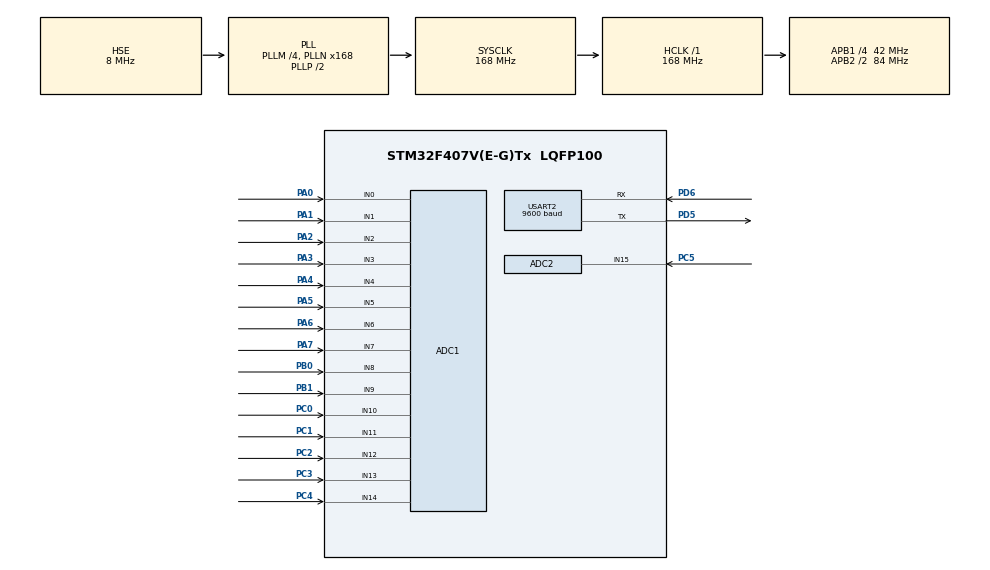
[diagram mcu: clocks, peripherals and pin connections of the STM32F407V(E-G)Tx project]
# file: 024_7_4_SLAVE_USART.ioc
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ADC1.Channel-0\#ChannelRegularConversion=ADC_CHANNEL_VREFINT
ADC1.Channel-1\#ChannelRegularConversion=ADC_CHANNEL_0
ADC1.Channel-10\#ChannelRegularConversion=ADC_CHANNEL_9
ADC1.Channel-11\#ChannelRegularConversion=ADC_CHANNEL_10
ADC1.Channel-12\#ChannelRegularConversion=ADC_CHANNEL_11
ADC1.Channel-13\#ChannelRegularConversion=ADC_CHANNEL_12
ADC1.Channel-14\#ChannelRegularConversion=ADC_CHANNEL_13
ADC1.Channel-15\#ChannelRegularConversion=ADC_CHANNEL_14
ADC1.Channel-2\#ChannelRegularConversion=ADC_CHANNEL_1
ADC1.Channel-3\#ChannelRegularConversion=ADC_CHANNEL_2
ADC1.Channel-4\#ChannelRegularConversion=ADC_CHANNEL_3
ADC1.Channel-5\#ChannelRegularConversion=ADC_CHANNEL_4
ADC1.Channel-6\#ChannelRegularConversion=ADC_CHANNEL_5
ADC1.Channel-7\#ChannelRegularConversion=ADC_CHANNEL_6
ADC1.Channel-8\#ChannelRegularConversion=ADC_CHANNEL_7
ADC1.Channel-9\#ChannelRegularConversion=ADC_CHANNEL_8
ADC1.ClockPrescaler=ADC_CLOCK_SYNC_PCLK_DIV4
ADC1.ContinuousConvMode=ENABLE
ADC1.DMAContinuousRequests=ENABLE
ADC1.NbrOfConversion=16
ADC1.NbrOfConversionFlag=1
ADC1.Rank-0\#ChannelRegularConversion=1
ADC1.Rank-1\#ChannelRegularConversion=2
ADC1.Rank-10\#ChannelRegularConversion=11
ADC1.Rank-11\#ChannelRegularConversion=12
ADC1.Rank-12\#ChannelRegularConversion=13
ADC1.Rank-13\#ChannelRegularConversion=14
ADC1.Rank-14\#ChannelRegularConversion=15
ADC1.Rank-15\#ChannelRegularConversion=16
ADC1.Rank-2\#ChannelRegularConversion=3
ADC1.Rank-3\#ChannelRegularConversion=4
ADC1.Rank-4\#ChannelRegularConversion=5
ADC1.Rank-5\#ChannelRegularConversion=6
ADC1.Rank-6\#ChannelRegularConversion=7
ADC1.Rank-7\#ChannelRegularConversion=8
ADC1.Rank-8\#ChannelRegularConversion=9
ADC1.Rank-9\#ChannelRegularConversion=10
ADC1.SamplingTime-0\#ChannelRegularConversion=ADC_SAMPLETIME_144CYCLES
ADC1.SamplingTime-1\#ChannelRegularConversion=ADC_SAMPLETIME_144CYCLES
ADC1.SamplingTime-10\#ChannelRegularConversion=ADC_SAMPLETIME_144CYCLES
ADC1.SamplingTime-11\#ChannelRegularConversion=ADC_SAMPLETIME_144CYCLES
ADC1.SamplingTime-12\#ChannelRegularConversion=ADC_SAMPLETIME_144CYCLES
ADC1.SamplingTime-13\#ChannelRegularConversion=ADC_SAMPLETIME_144CYCLES
ADC1.SamplingTime-14\#ChannelRegularConversion=ADC_SAMPLETIME_144CYCLES
ADC1.SamplingTime-15\#ChannelRegularConversion=ADC_SAMPLETIME_144CYCLES
ADC1.SamplingTime-2\#ChannelRegularConversion=ADC_SAMPLETIME_144CYCLES
ADC1.SamplingTime-3\#ChannelRegularConversion=ADC_SAMPLETIME_144CYCLES
ADC1.SamplingTime-4\#ChannelRegularConversion=ADC_SAMPLETIME_144CYCLES
ADC1.SamplingTime-5\#ChannelRegularConversion=ADC_SAMPLETIME_144CYCLES
ADC1.SamplingTime-6\#ChannelRegularConversion=ADC_SAMPLETIME_144CYCLES
ADC1.SamplingTime-7\#ChannelRegularConversion=ADC_SAMPLETIME_144CYCLES
ADC1.SamplingTime-8\#ChannelRegularConversion=ADC_SAMPLETIME_144CYCLES
ADC1.SamplingTime-9\#ChannelRegularConversion=ADC_SAMPLETIME_144CYCLES
ADC1.ScanConvMode=ENABLE
ADC1.master=1
ADC2.Channel-0\#ChannelRegularConversion=ADC_CHANNEL_15
ADC2.ClockPrescaler=ADC_CLOCK_SYNC_PCLK_DIV4
ADC2.NbrOfConversionFlag=1
ADC2.Rank-0\#ChannelRegularConversion=1
ADC2.SamplingTime-0\#ChannelRegularConversion=ADC_SAMPLETIME_144CYCLES
ADC2.ScanConvMode=ENABLE
Dma.ADC1.0.Direction=DMA_PERIPH_TO_MEMORY
Dma.ADC1.0.FIFOMode=DMA_FIFOMODE_DISABLE
Dma.ADC1.0.Instance=DMA2_Stream0
Dma.ADC1.0.MemDataAlignment=DMA_MDATAALIGN_HALFWORD
Dma.ADC1.0.MemInc=DMA_MINC_ENABLE
Dma.ADC1.0.Mode=DMA_CIRCULAR
Dma.ADC1.0.PeriphDataAlignment=DMA_PDATAALIGN_HALFWORD
Dma.ADC1.0.PeriphInc=DMA_PINC_DISABLE
Dma.ADC1.0.Priority=DMA_PRIORITY_VERY_HIGH
Dma.Request0=ADC1
Mcu.Family=STM32F4
Mcu.Name=STM32F407V(E-G)Tx
Mcu.Package=LQFP100
NVIC.DMA2_Stream0_IRQn=true\:0\:0\:false\:false\:true\:false\:true
NVIC.PriorityGroup=NVIC_PRIORITYGROUP_4
PA0-WKUP.Signal=ADCx_IN0
PA1.Signal=ADCx_IN1
PA2.Signal=ADCx_IN2
PA3.Signal=ADCx_IN3
PA4.Signal=ADCx_IN4
PA5.Signal=ADCx_IN5
PA6.Signal=ADCx_IN6
PA7.Signal=ADCx_IN7
PB0.Signal=ADCx_IN8
PB1.Signal=ADCx_IN9
PC0.Signal=ADCx_IN10
PC1.Signal=ADCx_IN11
PC2.Signal=ADCx_IN12
PC3.Signal=ADCx_IN13
PC4.Signal=ADCx_IN14
PC5.Signal=ADCx_IN15
PD5.Mode=Asynchronous
PD5.Signal=USART2_TX
PD6.Mode=Asynchronous
PD6.Signal=USART2_RX
PH0-OSC_IN.Mode=HSE-External-Oscillator
PH0-OSC_IN.Signal=RCC_OSC_IN
PH1-OSC_OUT.Mode=HSE-External-Oscillator
PH1-OSC_OUT.Signal=RCC_OSC_OUT
ProjectManager.HeapSize=0x200
ProjectManager.StackSize=0x400
ProjectManager.TargetToolchain=STM32CubeIDE
RCC.48MHZClocksFreq_Value=84000000
RCC.AHBFreq_Value=168000000
RCC.APB1CLKDivider=RCC_HCLK_DIV4
RCC.APB1Freq_Value=42000000
RCC.APB1TimFreq_Value=84000000
RCC.APB2CLKDivider=RCC_HCLK_DIV2
RCC.APB2Freq_Value=84000000
RCC.APB2TimFreq_Value=168000000
RCC.CortexFreq_Value=168000000
RCC.FLatency-AdvancedSettings=FLASH_LATENCY_5
RCC.HCLKFreq_Value=168000000
RCC.HSE_VALUE=8000000
RCC.HSI_VALUE=16000000
RCC.LSE_VALUE=32768
RCC.PLLM=4
RCC.PLLN=168
RCC.PLLSourceVirtual=RCC_PLLSOURCE_HSE
RCC.SYSCLKFreq_VALUE=168000000
RCC.SYSCLKSource=RCC_SYSCLKSOURCE_PLLCLK
RCC.VCOOutputFreq_Value=336000000
SH.ADCx_IN0.0=ADC1_IN0,IN0
SH.ADCx_IN1.0=ADC1_IN1,IN1
SH.ADCx_IN10.0=ADC1_IN10,IN10
SH.ADCx_IN11.0=ADC1_IN11,IN11
SH.ADCx_IN12.0=ADC1_IN12,IN12
SH.ADCx_IN13.0=ADC1_IN13,IN13
SH.ADCx_IN14.0=ADC1_IN14,IN14
SH.ADCx_IN15.0=ADC2_IN15,IN15
SH.ADCx_IN2.0=ADC1_IN2,IN2
SH.ADCx_IN3.0=ADC1_IN3,IN3
SH.ADCx_IN4.0=ADC1_IN4,IN4
SH.ADCx_IN5.0=ADC1_IN5,IN5
SH.ADCx_IN6.0=ADC1_IN6,IN6
SH.ADCx_IN7.0=ADC1_IN7,IN7
SH.ADCx_IN8.0=ADC1_IN8,IN8
SH.ADCx_IN9.0=ADC1_IN9,IN9
USART2.BaudRate=9600
USART2.Mode=MODE_TX_RX
USART2.VirtualMode=VM_ASYNC
VP_ADC1_Vref_Input.Mode=IN-Vrefint
board=custom

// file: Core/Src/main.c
/* USER CODE BEGIN Header */
/**
  ******************************************************************************
  * @file           : main.c
  * @brief          : Main program body
  ******************************************************************************
  * @attention
  *
  * <h2><center>&copy; Copyright (c) 2021 STMicroelectronics.
  * All rights reserved.</center></h2>
  *
  * This software component is licensed by ST under BSD 3-Clause license,
  * the "License"; You may not use this file except in compliance with the
  * License. You may obtain a copy of the License at:
  *                        opensource.org/licenses/BSD-3-Clause
  *
  ******************************************************************************
  */
/* USER CODE END Header */
#include "main.h"

/* USER CODE BEGIN Includes */
#include "stdio.h"
#include "string.h"

#define VREFIN_CAL ((uint16_t*)((uint32_t)0x1FFF7A2A))

/* USER CODE END Includes */

ADC_HandleTypeDef hadc1;
ADC_HandleTypeDef hadc2;
DMA_HandleTypeDef hdma_adc1;

UART_HandleTypeDef huart2;

/* USER CODE BEGIN PV */
uint16_t adc_value[17];

float Vdda = 0;
float test = 0;
int i;
float V_CEL[16];
float pil[16];
float hucre[16];
char gonder[89] = "";
/* USER CODE END PV */

void SystemClock_Config(void);
static void MX_GPIO_Init(void);
static void MX_USART2_UART_Init(void);
static void MX_DMA_Init(void);
static void MX_ADC1_Init(void);
static void MX_ADC2_Init(void);

int main(void)
{

  /* MCU Configuration--------------------------------------------------------*/

  /* Reset of all peripherals, Initializes the Flash interface and the Systick. */
  HAL_Init();

  /* Configure the system clock */
  SystemClock_Config();

  /* Initialize all configured peripherals */
  MX_GPIO_Init();
  MX_USART2_UART_Init();
  MX_DMA_Init();
  MX_ADC1_Init();
  MX_ADC2_Init();
  /* USER CODE BEGIN 2 */
  HAL_ADC_Start_DMA(&hadc1, (uint32_t*)adc_value, 16);
  HAL_ADC_Start(&hadc2);

  /* USER CODE END 2 */

  /* Infinite loop */
  /* USER CODE BEGIN WHILE */
  while (1)
  {
	  // ADC 0. KANAL VREF VOLTAJI Dİ�?ERLERİ GERİLİM OKUMA "A1 > 22K-22K","A2 > 22K-10K","A2 -A3 > 22K-4.7K","A4-A20 <"
	  adc_value[16]=HAL_ADC_GetValue(&hadc2);
	  test = adc_value[0];
	  Vdda = (float) 3.3 * (*VREFIN_CAL) / test;
	  for(i=1; 16 >= i; i++)
	  {
		  V_CEL[i-1] = adc_value[i];
	  }
	  for(i=0; 15 >= i; i++)
	  {
		  hucre[i] = V_CEL[i] / 4095 * Vdda;
		  V_CEL[i] = V_CEL[i] / 4095 * Vdda;
	  }
	  V_CEL[0] = V_CEL[0] * 2 * (1.79/1.789);//GERİLİM BÖLÜCÜ 22K-22K
	  V_CEL[1] = V_CEL[1] * (22000+10000) / 10000 * (2.15625/2.191) ;//GERİLİM BÖLÜCÜ 22K-10K
	  V_CEL[2] = V_CEL[2] * (22000+4700) / 4700 * (1.80430/1.804); // GERİLİM BÖLÜCÜ 22K-4700K
	  V_CEL[3] = V_CEL[3] * (22000+4700) / 4700 * (2.3922/2.385); // GERİLİM BÖLÜCÜ 22K-4700K
	  V_CEL[4] = V_CEL[4] * (22000+680) / 680 * (0.507/0.512); // GERİLİM BÖLÜCÜ 22K-680K
	  V_CEL[5] = V_CEL[5] * (22000+680) / 680 * (0.606843/0.612); // GERİLİM BÖLÜCÜ 22K-680K
	  V_CEL[6] = V_CEL[6] * (22000+680) / 680 * (0.712/0.716); // GERİLİM BÖLÜCÜ 22K-680K
	  V_CEL[7] = V_CEL[7] * (22000+680) / 680 * (0.806525/0.817); // GERİLİM BÖLÜCÜ 22K-680K
	  V_CEL[8] = V_CEL[8] * (22000+680) / 680 * (0.9066/0.910); // GERİLİM BÖLÜCÜ 22K-680K
	  V_CEL[9] = V_CEL[9] * (22000+680) / 680 * (1.00680/1.025); // GERİLİM BÖLÜCÜ 22K-680K
	  V_CEL[10] = V_CEL[10] * (22000+680) / 680 * (1.10335/1.124); // GERİLİM BÖLÜCÜ 22K-680K
	  V_CEL[11] = V_CEL[11] * (22000+680) / 680 * (1.20529/1.220); // GERİLİM BÖLÜCÜ 22K-680K
	  V_CEL[12] = V_CEL[12] * (22000+680) / 680 * (1.30723/1.337); // GERİLİM BÖLÜCÜ 22K-680K
	  V_CEL[13] = V_CEL[13] * (22000+680) / 680 * (1.40617/1.422); // GERİLİM BÖLÜCÜ 22K-680K
	  V_CEL[14] = V_CEL[14] * (22000+680) / 680 * (1.50811/1.527); // GERİLİM BÖLÜCÜ 22K-680K
	  V_CEL[15] = V_CEL[15] * (22000+680) / 680 * (1.607/1.63); // GERİLİM BÖLÜCÜ 22K-680K
	  for(i=15; 0<=i; i--)
	  {
		  pil[i]=V_CEL[i]-V_CEL[i-1];
	  }
	//  HAL_Delay(100);

//	  sprintf(gonder, "%.2f,%.2f,%.2f", pil[0], pil[1], pil[2]);
//
//
//	  if(HAL_UART_Transmit(&huart2, (uint8_t *)gonder, strlen(gonder), 100)!=HAL_OK){
//		  Error_Handler();
//	  }
//	  HAL_Delay(1000);
	  sprintf(gonder, "%.2f,%.2f,%.2f,%.2f,%.2f,%.2f,%.2f,%.2f,%.2f,%.2f,%.2f,%.2f,%.2f,%.2f,%.2f,%.2f,%.4f,*", pil[0], pil[1],
			  pil[2], pil[3], pil[4], pil[5], pil[6], pil[7], pil[8], pil[9], pil[10], pil[11], pil[12], pil[13], pil[14], pil[15], V_CEL[15]);

	  if(HAL_UART_Transmit(&huart2, (uint8_t*)gonder, 89, 3000)!=HAL_OK)
//strlen(gonder)
	  {
		  Error_Handler();
	  }

	  HAL_Delay(1000);
    /* USER CODE END WHILE */

  }
}

void SystemClock_Config(void)
{
  RCC_OscInitTypeDef RCC_OscInitStruct = {0};
  RCC_ClkInitTypeDef RCC_ClkInitStruct = {0};

  /** Configure the main internal regulator output voltage
  */
  __HAL_RCC_PWR_CLK_ENABLE();
  __HAL_PWR_VOLTAGESCALING_CONFIG(PWR_REGULATOR_VOLTAGE_SCALE1);
  /** Initializes the RCC Oscillators according to the specified parameters
  * in the RCC_OscInitTypeDef structure.
  */
  RCC_OscInitStruct.OscillatorType = RCC_OSCILLATORTYPE_HSE;
  RCC_OscInitStruct.HSEState = RCC_HSE_ON;
  RCC_OscInitStruct.PLL.PLLState = RCC_PLL_ON;
  RCC_OscInitStruct.PLL.PLLSource = RCC_PLLSOURCE_HSE;
  RCC_OscInitStruct.PLL.PLLM = 4;
  RCC_OscInitStruct.PLL.PLLN = 168;
  RCC_OscInitStruct.PLL.PLLP = RCC_PLLP_DIV2;
  RCC_OscInitStruct.PLL.PLLQ = 4;
  if (HAL_RCC_OscConfig(&RCC_OscInitStruct) != HAL_OK)
  {
    Error_Handler();
  }
  /** Initializes the CPU, AHB and APB buses clocks
  */
  RCC_ClkInitStruct.ClockType = RCC_CLOCKTYPE_HCLK|RCC_CLOCKTYPE_SYSCLK
                              |RCC_CLOCKTYPE_PCLK1|RCC_CLOCKTYPE_PCLK2;
  RCC_ClkInitStruct.SYSCLKSource = RCC_SYSCLKSOURCE_PLLCLK;
  RCC_ClkInitStruct.AHBCLKDivider = RCC_SYSCLK_DIV1;
  RCC_ClkInitStruct.APB1CLKDivider = RCC_HCLK_DIV4;
  RCC_ClkInitStruct.APB2CLKDivider = RCC_HCLK_DIV2;

  if (HAL_RCC_ClockConfig(&RCC_ClkInitStruct, FLASH_LATENCY_5) != HAL_OK)
  {
    Error_Handler();
  }
}

static void MX_ADC1_Init(void)
{

  ADC_ChannelConfTypeDef sConfig = {0};

  /** Configure the global features of the ADC (Clock, Resolution, Data Alignment and number of conversion)
  */
  hadc1.Instance = ADC1;
  hadc1.Init.ClockPrescaler = ADC_CLOCK_SYNC_PCLK_DIV4;
  hadc1.Init.Resolution = ADC_RESOLUTION_12B;
  hadc1.Init.ScanConvMode = ENABLE;
  hadc1.Init.ContinuousConvMode = ENABLE;
  hadc1.Init.DiscontinuousConvMode = DISABLE;
  hadc1.Init.ExternalTrigConvEdge = ADC_EXTERNALTRIGCONVEDGE_NONE;
  hadc1.Init.ExternalTrigConv = ADC_SOFTWARE_START;
  hadc1.Init.DataAlign = ADC_DATAALIGN_RIGHT;
  hadc1.Init.NbrOfConversion = 16;
  hadc1.Init.DMAContinuousRequests = ENABLE;
  hadc1.Init.EOCSelection = ADC_EOC_SINGLE_CONV;
  if (HAL_ADC_Init(&hadc1) != HAL_OK)
  {
    Error_Handler();
  }
  /** Configure for the selected ADC regular channel its corresponding rank in the sequencer and its sample time.
  */
  sConfig.Channel = ADC_CHANNEL_VREFINT;
  sConfig.Rank = 1;
  sConfig.SamplingTime = ADC_SAMPLETIME_144CYCLES;
  if (HAL_ADC_ConfigChannel(&hadc1, &sConfig) != HAL_OK)
  {
    Error_Handler();
  }
  /** Configure for the selected ADC regular channel its corresponding rank in the sequencer and its sample time.
  */
  sConfig.Channel = ADC_CHANNEL_0;
  sConfig.Rank = 2;
  if (HAL_ADC_ConfigChannel(&hadc1, &sConfig) != HAL_OK)
  {
    Error_Handler();
  }
  /** Configure for the selected ADC regular channel its corresponding rank in the sequencer and its sample time.
  */
  sConfig.Channel = ADC_CHANNEL_1;
  sConfig.Rank = 3;
  if (HAL_ADC_ConfigChannel(&hadc1, &sConfig) != HAL_OK)
  {
    Error_Handler();
  }
  /** Configure for the selected ADC regular channel its corresponding rank in the sequencer and its sample time.
  */
  sConfig.Channel = ADC_CHANNEL_2;
  sConfig.Rank = 4;
  if (HAL_ADC_ConfigChannel(&hadc1, &sConfig) != HAL_OK)
  {
    Error_Handler();
  }
  /** Configure for the selected ADC regular channel its corresponding rank in the sequencer and its sample time.
  */
  sConfig.Channel = ADC_CHANNEL_3;
  sConfig.Rank = 5;
  if (HAL_ADC_ConfigChannel(&hadc1, &sConfig) != HAL_OK)
  {
    Error_Handler();
  }
  /** Configure for the selected ADC regular channel its corresponding rank in the sequencer and its sample time.
  */
  sConfig.Channel = ADC_CHANNEL_4;
  sConfig.Rank = 6;
  if (HAL_ADC_ConfigChannel(&hadc1, &sConfig) != HAL_OK)
  {
    Error_Handler();
  }
  /** Configure for the selected ADC regular channel its corresponding rank in the sequencer and its sample time.
  */
  sConfig.Channel = ADC_CHANNEL_5;
  sConfig.Rank = 7;
  if (HAL_ADC_ConfigChannel(&hadc1, &sConfig) != HAL_OK)
  {
    Error_Handler();
  }
  /** Configure for the selected ADC regular channel its corresponding rank in the sequencer and its sample time.
  */
  sConfig.Channel = ADC_CHANNEL_6;
  sConfig.Rank = 8;
  if (HAL_ADC_ConfigChannel(&hadc1, &sConfig) != HAL_OK)
  {
    Error_Handler();
  }
  /** Configure for the selected ADC regular channel its corresponding rank in the sequencer and its sample time.
  */
  sConfig.Channel = ADC_CHANNEL_7;
  sConfig.Rank = 9;
  if (HAL_ADC_ConfigChannel(&hadc1, &sConfig) != HAL_OK)
  {
    Error_Handler();
  }
  /** Configure for the selected ADC regular channel its corresponding rank in the sequencer and its sample time.
  */
  sConfig.Channel = ADC_CHANNEL_8;
  sConfig.Rank = 10;
  if (HAL_ADC_ConfigChannel(&hadc1, &sConfig) != HAL_OK)
  {
    Error_Handler();
  }
  /** Configure for the selected ADC regular channel its corresponding rank in the sequencer and its sample time.
  */
  sConfig.Channel = ADC_CHANNEL_9;
  sConfig.Rank = 11;
  if (HAL_ADC_ConfigChannel(&hadc1, &sConfig) != HAL_OK)
  {
    Error_Handler();
  }
  /** Configure for the selected ADC regular channel its corresponding rank in the sequencer and its sample time.
  */
  sConfig.Channel = ADC_CHANNEL_10;
  sConfig.Rank = 12;
  if (HAL_ADC_ConfigChannel(&hadc1, &sConfig) != HAL_OK)
  {
    Error_Handler();
  }
  /** Configure for the selected ADC regular channel its corresponding rank in the sequencer and its sample time.
  */
  sConfig.Channel = ADC_CHANNEL_11;
  sConfig.Rank = 13;
  if (HAL_ADC_ConfigChannel(&hadc1, &sConfig) != HAL_OK)
  {
    Error_Handler();
  }
  /** Configure for the selected ADC regular channel its corresponding rank in the sequencer and its sample time.
  */
  sConfig.Channel = ADC_CHANNEL_12;
  sConfig.Rank = 14;
  if (HAL_ADC_ConfigChannel(&hadc1, &sConfig) != HAL_OK)
  {
    Error_Handler();
  }
  /** Configure for the selected ADC regular channel its corresponding rank in the sequencer and its sample time.
  */
  sConfig.Channel = ADC_CHANNEL_13;
  sConfig.Rank = 15;
  if (HAL_ADC_ConfigChannel(&hadc1, &sConfig) != HAL_OK)
  {
    Error_Handler();
  }
  /** Configure for the selected ADC regular channel its corresponding rank in the sequencer and its sample time.
  */
  sConfig.Channel = ADC_CHANNEL_14;
  sConfig.Rank = 16;
  if (HAL_ADC_ConfigChannel(&hadc1, &sConfig) != HAL_OK)
  {
    Error_Handler();
  }

}

static void MX_ADC2_Init(void)
{

  ADC_ChannelConfTypeDef sConfig = {0};

  /** Configure the global features of the ADC (Clock, Resolution, Data Alignment and number of conversion)
  */
  hadc2.Instance = ADC2;
  hadc2.Init.ClockPrescaler = ADC_CLOCK_SYNC_PCLK_DIV4;
  hadc2.Init.Resolution = ADC_RESOLUTION_12B;
  hadc2.Init.ScanConvMode = ENABLE;
  hadc2.Init.ContinuousConvMode = ENABLE;
  hadc2.Init.DiscontinuousConvMode = DISABLE;
  hadc2.Init.ExternalTrigConvEdge = ADC_EXTERNALTRIGCONVEDGE_NONE;
  hadc2.Init.ExternalTrigConv = ADC_SOFTWARE_START;
  hadc2.Init.DataAlign = ADC_DATAALIGN_RIGHT;
  hadc2.Init.NbrOfConversion = 1;
  hadc2.Init.DMAContinuousRequests = DISABLE;
  hadc2.Init.EOCSelection = ADC_EOC_SINGLE_CONV;
  if (HAL_ADC_Init(&hadc2) != HAL_OK)
  {
    Error_Handler();
  }
  /** Configure for the selected ADC regular channel its corresponding rank in the sequencer and its sample time.
  */
  sConfig.Channel = ADC_CHANNEL_15;
  sConfig.Rank = 1;
  sConfig.SamplingTime = ADC_SAMPLETIME_144CYCLES;
  if (HAL_ADC_ConfigChannel(&hadc2, &sConfig) != HAL_OK)
  {
    Error_Handler();
  }

}

static void MX_USART2_UART_Init(void)
{

  huart2.Instance = USART2;
  huart2.Init.BaudRate = 9600;
  huart2.Init.WordLength = UART_WORDLENGTH_8B;
  huart2.Init.StopBits = UART_STOPBITS_1;
  huart2.Init.Parity = UART_PARITY_NONE;
  huart2.Init.Mode = UART_MODE_TX_RX;
  huart2.Init.HwFlowCtl = UART_HWCONTROL_NONE;
  huart2.Init.OverSampling = UART_OVERSAMPLING_16;
  if (HAL_UART_Init(&huart2) != HAL_OK)
  {
    Error_Handler();
  }

}

static void MX_DMA_Init(void)
{

  /* DMA controller clock enable */
  __HAL_RCC_DMA2_CLK_ENABLE();

  /* DMA interrupt init */
  /* DMA2_Stream0_IRQn interrupt configuration */
  HAL_NVIC_SetPriority(DMA2_Stream0_IRQn, 0, 0);
  HAL_NVIC_EnableIRQ(DMA2_Stream0_IRQn);

}

static void MX_GPIO_Init(void)
{

  /* GPIO Ports Clock Enable */
  __HAL_RCC_GPIOH_CLK_ENABLE();
  __HAL_RCC_GPIOC_CLK_ENABLE();
  __HAL_RCC_GPIOA_CLK_ENABLE();
  __HAL_RCC_GPIOB_CLK_ENABLE();
  __HAL_RCC_GPIOD_CLK_ENABLE();

}

void Error_Handler(void)
{
  __disable_irq();
  while (1)
  {
  }
}

/************************ (C) COPYRIGHT STMicroelectronics *****END OF FILE****/
